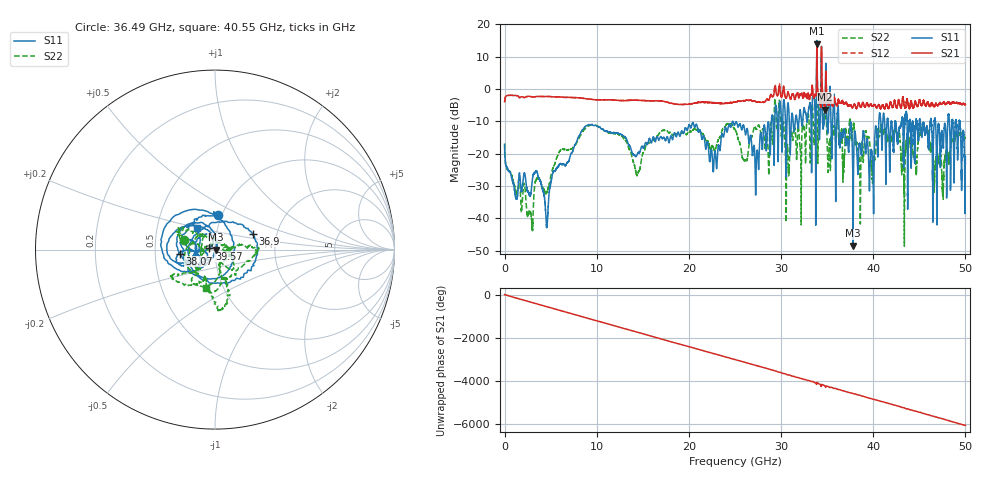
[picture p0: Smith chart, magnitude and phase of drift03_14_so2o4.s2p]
!Created with skrf (http://scikit-rf.org).
# Hz S RI R 50.0
!freq ReS11 ImS11 ReS21 ImS21 ReS12 ImS12 ReS22 ImS22
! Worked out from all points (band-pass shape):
!   10001 points, 300 kHz to 50 GHz, reference 50 ohm
!   highest |S21| = 14.01 dB at 33.88 GHz (marker M1); lowest = -6.4 dB at 34.79 GHz (marker M2)
!   |S21| within 3 dB of the highest: 33.8695 GHz to 33.88925 GHz (19.75 MHz wide, 0.0583 % of centre); 34.37674 GHz to 34.39123 GHz (14.49 MHz wide, 0.0421 % of centre)
!   lowest |S11| = -48.5 dB at 37.83 GHz (marker M3), VSWR 1.01, Z = 50.4 - j0.111 ohm
!   |S11| at or under -10 dB: start of sweep to 28.94 GHz; 36.27 GHz to 40.61 GHz (4.344 GHz wide, 11.3 % of centre); 46.75 GHz to 48.09 GHz (1.338 GHz wide, 2.82 % of centre) (the widest 3 of 59)
!   |S22| runs from -48.7 to 10.5 dB; largest |S21 - S12| = 0.82
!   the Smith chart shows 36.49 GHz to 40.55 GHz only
!   S11 on the Smith chart (normalised r, x): 36.49 GHz: 0.96, +0.39; 36.9 GHz: 1.50, +0.28; 38.07 GHz: 0.67, -0.03; 39.57 GHz: 0.94, +0.01; 40.55 GHz: 0.80, +0.20
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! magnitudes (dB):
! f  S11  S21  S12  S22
! 300 kHz  -17.2  -4.0  -4.0  -17.0
! 2.85 GHz  -32.2  -2.4  -2.4  -38.1
! 4.585 GHz  -42.0  -2.3  -2.3  -31.8
! 8.335 GHz  -13.1  -2.8  -2.8  -13.9
! 14.43 GHz  -20.0  -3.5  -3.5  -26.4
! 16.67 GHz  -15.5  -3.7  -3.7  -14.3
! 22.82 GHz  -19.3  -4.3  -4.3  -19.0
! 25 GHz  -11.0  -4.0  -4.0  -12.5
! 27.39 GHz  -19.3  -4.1  -4.1  -12.3
! 29.6 GHz  -10.4  -2.0  -2.1  -11.8
! 30.7 GHz  -5.6  -1.4  -1.5  -17.1
! 33.34 GHz  -14.1  -0.6  -0.6  -7.3
! 33.88 GHz  15.0  14.0  13.7  10.5
! 34.79 GHz  -3.1  -6.4  -5.0  -8.7
! 36.49 GHz  -14.2  -4.4  -4.4  -15.0
! 36.9 GHz  -12.8  -4.6  -4.6  -19.8
! 37.83 GHz  -48.5  -5.5  -5.6  -11.5
! 38.07 GHz  -14.0  -5.4  -5.4  -17.2
! 39.57 GHz  -30.0  -5.4  -5.3  -15.5
! 40.55 GHz  -16.1  -5.0  -5.1  -13.1
! 41.67 GHz  -12.4  -6.0  -6.0  -15.1
! 50 GHz  -20.9  -4.8  -4.9  -15.0
